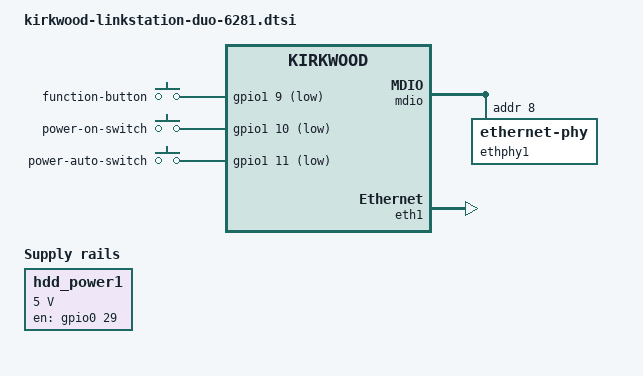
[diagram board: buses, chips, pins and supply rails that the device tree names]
// SPDX-License-Identifier: (GPL-2.0+ OR MIT)
/*
 * Device Tree common file for kirkwood-6281 based 2-Bay Buffalo Linkstation
 *
 * Copyright (C) 2015, 2016
 * Roger Shimizu <rogershimizu@gmail.com>
 */

#include "kirkwood.dtsi"
#include "kirkwood-6281.dtsi"
#include "kirkwood-linkstation.dtsi"

/ {
	ocp@f1000000 {
		pinctrl: pin-controller@10000 {
			pmx_power_hdd0: pmx-power-hdd0 {
				marvell,pins = "mpp28";
				marvell,function = "gpio";
			};
			pmx_power_hdd1: pmx-power-hdd1 {
				marvell,pins = "mpp29";
				marvell,function = "gpio";
			};
			pmx_usb_vbus: pmx-usb-vbus {
				marvell,pins = "mpp37";
				marvell,function = "gpio";
			};
			pmx_led_alarm: pmx-led-alarm {
				marvell,pins = "mpp49";
				marvell,function = "gpio";
			};
			pmx_led_function_red: pmx-led-function-red {
				marvell,pins = "mpp34";
				marvell,function = "gpio";
			};
			pmx_led_function_blue: pmx-led-function-blue {
				marvell,pins = "mpp36";
				marvell,function = "gpio";
			};
			pmx_led_info: pmx-led-info {
				marvell,pins = "mpp38";
				marvell,function = "gpio";
			};
			pmx_led_power: pmx-led-power {
				marvell,pins = "mpp39";
				marvell,function = "gpio";
			};
			pmx_button_function: pmx-button-function {
				marvell,pins = "mpp41";
				marvell,function = "gpio";
			};
			pmx_power_switch: pmx-power-switch {
				marvell,pins = "mpp42";
				marvell,function = "gpio";
			};
			pmx_power_auto_switch: pmx-power-auto-switch {
				marvell,pins = "mpp43";
				marvell,function = "gpio";
			};
		};

		sata@80000 {
			nr-ports = <2>;
		};
	};

	gpio_keys {
		function-button {
			gpios = <&gpio1 9 GPIO_ACTIVE_LOW>;
		};

		power-on-switch {
			gpios = <&gpio1 10 GPIO_ACTIVE_LOW>;
		};

		power-auto-switch {
			gpios = <&gpio1 11 GPIO_ACTIVE_LOW>;
		};
	};

	gpio_leds {
		red-alarm-led {
			label = "linkstation:red:alarm";
			gpios = <&gpio1 17 GPIO_ACTIVE_LOW>;
		};

		red-function-led {
			label = "linkstation:red:function";
			gpios = <&gpio1 2 GPIO_ACTIVE_HIGH>;
		};

		amber-info-led {
			label = "linkstation:amber:info";
			gpios = <&gpio1 6 GPIO_ACTIVE_LOW>;
		};

		blue-function-led {
			label = "linkstation:blue:function";
			gpios = <&gpio1 4 GPIO_ACTIVE_LOW>;
		};

		blue-power-led {
			label = "linkstation:blue:power";
			gpios = <&gpio1 7 GPIO_ACTIVE_HIGH>;
			default-state = "keep";
		};
	};

	regulators {
		pinctrl-0 = <&pmx_power_hdd0 &pmx_power_hdd1 &pmx_usb_vbus>;

		usb_power: regulator@1 {
			gpio = <&gpio1 5 GPIO_ACTIVE_HIGH>;
		};

		hdd_power0: regulator@2 {
			gpio = <&gpio0 28 GPIO_ACTIVE_HIGH>;
		};

		hdd_power1: regulator@3 {
			compatible = "regulator-fixed";
			reg = <3>;
			regulator-name = "HDD1 Power";
			regulator-min-microvolt = <5000000>;
			regulator-max-microvolt = <5000000>;
			enable-active-high;
			regulator-always-on;
			regulator-boot-on;
			gpio = <&gpio0 29 GPIO_ACTIVE_HIGH>;
		};
	};
};

&mdio {
	status = "okay";

	ethphy1: ethernet-phy@8 {
		device_type = "ethernet-phy";
		reg = <8>;
	};
};

&eth1 {
	status = "okay";

	ethernet1-port@0 {
		phy-handle = <&ethphy1>;
	};
};
